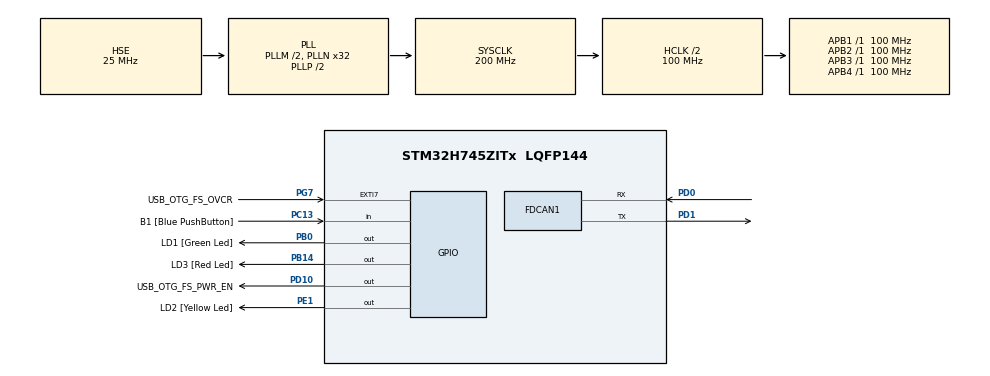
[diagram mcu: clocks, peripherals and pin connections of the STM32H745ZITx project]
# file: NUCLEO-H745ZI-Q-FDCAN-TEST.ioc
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CortexM4.IPs=FATFS_M4\:I,FREERTOS_M4\:I,IWDG2\:I,RCC,WWDG2\:I,DMA,BDMA,MDMA,NVIC2\:I,USART3,DEBUG,PDM2PCM_M4\:I,PWR,RESMGR_UTILITY,SYS_M4\:I,USB_DEVICE_M4\:I,USB_HOST_M4\:I,CORTEX_M4\:I,OPENAMP_M4\:I,VREFBUF
CortexM7.IPs=FATFS_M7\:I,FREERTOS_M7\:I,IWDG1\:I,RCC\:I,WWDG1\:I,DMA\:I,BDMA\:I,MDMA\:I,NVIC1\:I,SYS\:I,USART3\:I,USB_OTG_FS\:I,CORTEX_M7\:I,DEBUG\:I,PDM2PCM_M7\:I,PWR\:I,RESMGR_UTILITY\:I,USB_DEVICE_M7\:I,USB_HOST_M7\:I,OPENAMP_M7\:I,VREFBUF\:I,FDCAN1\:I
FDCAN1.AutoRetransmission=ENABLE
FDCAN1.DataPrescaler=4
FDCAN1.DataSyncJumpWidth=15
FDCAN1.DataTimeSeg1=9
FDCAN1.DataTimeSeg2=9
FDCAN1.Mode=FDCAN_MODE_EXTERNAL_LOOPBACK
FDCAN1.NominalSyncJumpWidth=20
FDCAN1.NominalTimeSeg1=79
FDCAN1.NominalTimeSeg2=20
FDCAN1.RxFifo0ElmtsNbr=1
FDCAN1.StdFiltersNbr=1
FDCAN1.TxFifoQueueElmtsNbr=1
Mcu.Family=STM32H7
Mcu.Name=STM32H745ZITx
Mcu.Package=LQFP144
NVIC1.PriorityGroup=NVIC_PRIORITYGROUP_4
NVIC2.PriorityGroup=NVIC_PRIORITYGROUP_4
PA1.PinAttribute=CortexM4
PA1.Signal=ETH_REF_CLK
PA11.PinAttribute=CortexM7
PA11.Signal=USB_OTG_FS_DM
PA12.PinAttribute=CortexM7
PA12.Signal=USB_OTG_FS_DP
PA2.PinAttribute=CortexM4
PA2.Signal=ETH_MDIO
PA7.PinAttribute=CortexM4
PA7.Signal=ETH_CRS_DV
PA8.PinAttribute=CortexM7
PA8.Signal=USB_OTG_FS_SOF
PA9.PinAttribute=CortexM7
PA9.Signal=USB_OTG_FS_VBUS
PB0.GPIO_Label=LD1 [Green Led]
PB0.GPIO_PuPd=GPIO_NOPULL
PB0.PinAttribute=Free
PB0.Signal=GPIO_Output
PB13.PinAttribute=CortexM4
PB13.Signal=ETH_TXD1
PB14.GPIO_Label=LD3 [Red Led]
PB14.PinAttribute=Free
PB14.Signal=GPIO_Output
PC1.PinAttribute=CortexM4
PC1.Signal=ETH_MDC
PC13.GPIO_Label=B1 [Blue PushButton]
PC13.PinAttribute=Free
PC13.Signal=GPIO_Input
PC14-OSC32_IN\ (OSC32_IN).PinAttribute=CortexM7
PC14-OSC32_IN\ (OSC32_IN).Signal=RCC_OSC32_IN
PC15-OSC32_OUT\ (OSC32_OUT).PinAttribute=CortexM7
PC15-OSC32_OUT\ (OSC32_OUT).Signal=RCC_OSC32_OUT
PC4.PinAttribute=CortexM4
PC4.Signal=ETH_RXD0
PC5.PinAttribute=CortexM4
PC5.Signal=ETH_RXD1
PD0.Mode=FDCAN_Activate
PD0.PinAttribute=CortexM7
PD0.Signal=FDCAN1_RX
PD1.Mode=FDCAN_Activate
PD1.PinAttribute=CortexM7
PD1.Signal=FDCAN1_TX
PD10.GPIO_Label=USB_OTG_FS_PWR_EN
PD10.PinAttribute=Free
PD10.Signal=GPIO_Output
PD8.GPIO_Label=STLINK_RX
PD8.PinAttribute=CortexM7
PD8.Signal=USART3_TX
PD9.GPIO_Label=STLINK_TX
PD9.PinAttribute=CortexM7
PD9.Signal=USART3_RX
PE1.GPIO_Label=LD2 [Yellow Led]
PE1.PinAttribute=Free
PE1.Signal=GPIO_Output
PG11.PinAttribute=CortexM4
PG11.Signal=ETH_TX_EN
PG13.PinAttribute=CortexM4
PG13.Signal=ETH_TXD0
PG7.GPIO_Label=USB_OTG_FS_OVCR
PG7.PinAttribute=Free
PG7.Signal=GPXTI7
PH0-OSC_IN\ (PH0).Mode=HSE-External-Oscillator
PH0-OSC_IN\ (PH0).PinAttribute=CortexM7
PH0-OSC_IN\ (PH0).Signal=RCC_OSC_IN
PH1-OSC_OUT\ (PH1).Mode=HSE-External-Oscillator
PH1-OSC_OUT\ (PH1).PinAttribute=CortexM7
PH1-OSC_OUT\ (PH1).Signal=RCC_OSC_OUT
ProjectManager.HeapSize=M4-0x200,M7-0x200
ProjectManager.StackSize=M4-0x400,M7-0x400
ProjectManager.TargetToolchain=STM32CubeIDE
RCC.ADCFreq_Value=50390625
RCC.APB1Freq_Value=100000000
RCC.APB2Freq_Value=100000000
RCC.APB3Freq_Value=100000000
RCC.APB4Freq_Value=100000000
RCC.CortexFreq_Value=200000000
RCC.DIVM1=2
RCC.DIVM3=22
RCC.DIVN1=32
RCC.DIVN3=169
RCC.DIVQ1=8
RCC.DIVQ3=4
RCC.HCLKFreq_Value=100000000
RCC.HPRE=RCC_HCLK_DIV2
RCC.PLL2FRACN=0
RCC.PLL3FRACN=0
RCC.PLLFRACN=0
RCC.PLLSourceVirtual=RCC_PLLSOURCE_HSE
RCC.SYSCLKFreq_VALUE=200000000
RCC.SYSCLKSource=RCC_SYSCLKSOURCE_PLLCLK
RCC.SupplySource=PWR_DIRECT_SMPS_SUPPLY
RCC.USBCLockSelection=RCC_USBCLKSOURCE_PLL3
RCC.USBFreq_Value=48011363.63636364
VP_SYS_M4_VS_Systick.Mode=SysTick
board=NUCLEO-H745ZI-Q

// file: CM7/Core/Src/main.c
/* USER CODE BEGIN Header */
/**
  ******************************************************************************
  * @file           : main.c
  * @brief          : Main program body
  ******************************************************************************
  * @attention
  *
  * Copyright (c) 2023 STMicroelectronics.
  * All rights reserved.
  *
  * This software is licensed under terms that can be found in the LICENSE file
  * in the root directory of this software component.
  * If no LICENSE file comes with this software, it is provided AS-IS.
  *
  ******************************************************************************
  */
/* USER CODE END Header */
#include "main.h"

/* USER CODE BEGIN PD */

#ifndef HSEM_ID_0
#define HSEM_ID_0 (0U) /* HW semaphore 0*/
#endif
/* USER CODE END PD */

FDCAN_HandleTypeDef hfdcan1;

/* USER CODE BEGIN PV */
FDCAN_TxHeaderTypeDef   TxHeader;
FDCAN_RxHeaderTypeDef   RxHeader;
uint8_t msg[8];
uint8_t rcvd_msg[8];
/* USER CODE END PV */

void SystemClock_Config(void);
static void MX_GPIO_Init(void);
static void MX_FDCAN1_Init(void);
/* USER CODE BEGIN PFP */
void FDCAN1_Tx(void);
void FDCAN1_Rx(void);
void Filter_Config(void);
/* USER CODE END PFP */

int main(void)
{
/* USER CODE BEGIN Boot_Mode_Sequence_0 */
  int32_t timeout;
/* USER CODE END Boot_Mode_Sequence_0 */

/* USER CODE BEGIN Boot_Mode_Sequence_1 */
  /* Wait until CPU2 boots and enters in stop mode or timeout*/
  timeout = 0xFFFF;
  while((__HAL_RCC_GET_FLAG(RCC_FLAG_D2CKRDY) != RESET) && (timeout-- > 0));
  if ( timeout < 0 )
  {
  Error_Handler();
  }
/* USER CODE END Boot_Mode_Sequence_1 */
  /* MCU Configuration--------------------------------------------------------*/

  /* Reset of all peripherals, Initializes the Flash interface and the Systick. */
  HAL_Init();

  /* Configure the system clock */
  SystemClock_Config();
/* USER CODE BEGIN Boot_Mode_Sequence_2 */
/* When system initialization is finished, Cortex-M7 will release Cortex-M4 by means of
HSEM notification */
/*HW semaphore Clock enable*/
__HAL_RCC_HSEM_CLK_ENABLE();
/*Take HSEM */
HAL_HSEM_FastTake(HSEM_ID_0);
/*Release HSEM in order to notify the CPU2(CM4)*/
HAL_HSEM_Release(HSEM_ID_0,0);
/* wait until CPU2 wakes up from stop mode */
timeout = 0xFFFF;
while((__HAL_RCC_GET_FLAG(RCC_FLAG_D2CKRDY) == RESET) && (timeout-- > 0));
if ( timeout < 0 )
{
Error_Handler();
}
/* USER CODE END Boot_Mode_Sequence_2 */

  /* Initialize all configured peripherals */
  MX_GPIO_Init();
  MX_FDCAN1_Init();

  /* Infinite loop */
  while (1)
  {

  }
}

void SystemClock_Config(void)
{
  RCC_OscInitTypeDef RCC_OscInitStruct = {0};
  RCC_ClkInitTypeDef RCC_ClkInitStruct = {0};

  /** Supply configuration update enable
  */
  HAL_PWREx_ConfigSupply(PWR_DIRECT_SMPS_SUPPLY);
  /** Configure the main internal regulator output voltage
  */
  __HAL_PWR_VOLTAGESCALING_CONFIG(PWR_REGULATOR_VOLTAGE_SCALE3);

  while(!__HAL_PWR_GET_FLAG(PWR_FLAG_VOSRDY)) {}
  /** Initializes the RCC Oscillators according to the specified parameters
  * in the RCC_OscInitTypeDef structure.
  */
  RCC_OscInitStruct.OscillatorType = RCC_OSCILLATORTYPE_HSE;
  RCC_OscInitStruct.HSEState = RCC_HSE_ON;
  RCC_OscInitStruct.PLL.PLLState = RCC_PLL_ON;
  RCC_OscInitStruct.PLL.PLLSource = RCC_PLLSOURCE_HSE;
  RCC_OscInitStruct.PLL.PLLM = 2;
  RCC_OscInitStruct.PLL.PLLN = 32;
  RCC_OscInitStruct.PLL.PLLP = 2;
  RCC_OscInitStruct.PLL.PLLQ = 8;
  RCC_OscInitStruct.PLL.PLLR = 2;
  RCC_OscInitStruct.PLL.PLLRGE = RCC_PLL1VCIRANGE_3;
  RCC_OscInitStruct.PLL.PLLVCOSEL = RCC_PLL1VCOWIDE;
  RCC_OscInitStruct.PLL.PLLFRACN = 0;
  if (HAL_RCC_OscConfig(&RCC_OscInitStruct) != HAL_OK)
  {
    Error_Handler();
  }
  /** Initializes the CPU, AHB and APB buses clocks
  */
  RCC_ClkInitStruct.ClockType = RCC_CLOCKTYPE_HCLK|RCC_CLOCKTYPE_SYSCLK
                              |RCC_CLOCKTYPE_PCLK1|RCC_CLOCKTYPE_PCLK2
                              |RCC_CLOCKTYPE_D3PCLK1|RCC_CLOCKTYPE_D1PCLK1;
  RCC_ClkInitStruct.SYSCLKSource = RCC_SYSCLKSOURCE_PLLCLK;
  RCC_ClkInitStruct.SYSCLKDivider = RCC_SYSCLK_DIV1;
  RCC_ClkInitStruct.AHBCLKDivider = RCC_HCLK_DIV2;
  RCC_ClkInitStruct.APB3CLKDivider = RCC_APB3_DIV1;
  RCC_ClkInitStruct.APB1CLKDivider = RCC_APB1_DIV1;
  RCC_ClkInitStruct.APB2CLKDivider = RCC_APB2_DIV1;
  RCC_ClkInitStruct.APB4CLKDivider = RCC_APB4_DIV1;

  if (HAL_RCC_ClockConfig(&RCC_ClkInitStruct, FLASH_LATENCY_2) != HAL_OK)
  {
    Error_Handler();
  }
}

static void MX_FDCAN1_Init(void)
{

  hfdcan1.Instance = FDCAN1;
  hfdcan1.Init.FrameFormat = FDCAN_FRAME_CLASSIC;
  hfdcan1.Init.Mode = FDCAN_MODE_EXTERNAL_LOOPBACK;
  hfdcan1.Init.AutoRetransmission = ENABLE;
  hfdcan1.Init.TransmitPause = DISABLE;
  hfdcan1.Init.ProtocolException = DISABLE;
  hfdcan1.Init.NominalPrescaler = 1;
  hfdcan1.Init.NominalSyncJumpWidth = 20;
  hfdcan1.Init.NominalTimeSeg1 = 79;
  hfdcan1.Init.NominalTimeSeg2 = 20;
  hfdcan1.Init.DataPrescaler = 4;
  hfdcan1.Init.DataSyncJumpWidth = 15;
  hfdcan1.Init.DataTimeSeg1 = 9;
  hfdcan1.Init.DataTimeSeg2 = 9;
  hfdcan1.Init.MessageRAMOffset = 0;
  hfdcan1.Init.StdFiltersNbr = 1;
  hfdcan1.Init.ExtFiltersNbr = 0;
  hfdcan1.Init.RxFifo0ElmtsNbr = 1;
  hfdcan1.Init.RxFifo0ElmtSize = FDCAN_DATA_BYTES_8;
  hfdcan1.Init.RxFifo1ElmtsNbr = 0;
  hfdcan1.Init.RxFifo1ElmtSize = FDCAN_DATA_BYTES_8;
  hfdcan1.Init.RxBuffersNbr = 0;
  hfdcan1.Init.RxBufferSize = FDCAN_DATA_BYTES_8;
  hfdcan1.Init.TxEventsNbr = 0;
  hfdcan1.Init.TxBuffersNbr = 0;
  hfdcan1.Init.TxFifoQueueElmtsNbr = 1;
  hfdcan1.Init.TxFifoQueueMode = FDCAN_TX_FIFO_OPERATION;
  hfdcan1.Init.TxElmtSize = FDCAN_DATA_BYTES_8;
  if (HAL_FDCAN_Init(&hfdcan1) != HAL_OK)
  {
    Error_Handler();
  }
  /* USER CODE BEGIN FDCAN1_Init 2 */
  if(HAL_FDCAN_Start(&hfdcan1)!= HAL_OK)
  {
	  Error_Handler();
  }
  Filter_Config();
  /* USER CODE END FDCAN1_Init 2 */

}

static void MX_GPIO_Init(void)
{
  GPIO_InitTypeDef GPIO_InitStruct = {0};

  /* GPIO Ports Clock Enable */
  __HAL_RCC_GPIOC_CLK_ENABLE();
  __HAL_RCC_GPIOH_CLK_ENABLE();
  __HAL_RCC_GPIOD_CLK_ENABLE();
  __HAL_RCC_GPIOA_CLK_ENABLE();

  /*Configure GPIO pins : PD8 PD9 */
  GPIO_InitStruct.Pin = GPIO_PIN_8|GPIO_PIN_9;
  GPIO_InitStruct.Mode = GPIO_MODE_AF_PP;
  GPIO_InitStruct.Pull = GPIO_NOPULL;
  GPIO_InitStruct.Speed = GPIO_SPEED_FREQ_LOW;
  GPIO_InitStruct.Alternate = GPIO_AF7_USART3;
  HAL_GPIO_Init(GPIOD, &GPIO_InitStruct);

  /*Configure GPIO pins : PA8 PA11 PA12 */
  GPIO_InitStruct.Pin = GPIO_PIN_8|GPIO_PIN_11|GPIO_PIN_12;
  GPIO_InitStruct.Mode = GPIO_MODE_AF_PP;
  GPIO_InitStruct.Pull = GPIO_NOPULL;
  GPIO_InitStruct.Speed = GPIO_SPEED_FREQ_LOW;
  GPIO_InitStruct.Alternate = GPIO_AF10_OTG1_FS;
  HAL_GPIO_Init(GPIOA, &GPIO_InitStruct);

}

/* USER CODE BEGIN 4 */
void Filter_Config(){
	FDCAN_FilterTypeDef sFilterConfig;

	sFilterConfig.IdType = FDCAN_STANDARD_ID;
	sFilterConfig.FilterIndex = 0;
	sFilterConfig.FilterType = FDCAN_FILTER_MASK;
	sFilterConfig.FilterConfig = FDCAN_FILTER_TO_RXFIFO0;
	sFilterConfig.FilterID1 = 0x000;
	sFilterConfig.FilterID2 = 0x000;
	sFilterConfig.RxBufferIndex = 0;

	if (HAL_FDCAN_ConfigFilter(&hfdcan1, &sFilterConfig) != HAL_OK)
	{
	  /* Filter configuration Error */
	Error_Handler();
	}
}
void FDCA1_Tx(){
	TxHeader.Identifier = 0x11;
	TxHeader.IdType = FDCAN_STANDARD_ID;
	TxHeader.TxFrameType = FDCAN_DATA_FRAME;
	TxHeader.DataLength = FDCAN_DLC_BYTES_8;
	TxHeader.ErrorStateIndicator = FDCAN_ESI_ACTIVE;
	TxHeader.BitRateSwitch = FDCAN_BRS_OFF;
	TxHeader.FDFormat = FDCAN_CLASSIC_CAN;
	TxHeader.TxEventFifoControl = FDCAN_NO_TX_EVENTS;
	TxHeader.MessageMarker = 0;

	if( HAL_FDCAN_AddMessageToTxFifoQ(&hfdcan1, TxHeader, msg) != HAL_OK ){
		Error_Handler();
	}

	HAL_GPIO_WritePin(GPIOD, 0, GPIO_PIN_SET); //SET The GREEN LED

}

void FDCAN1_Rx(){
	// Wait until There is a message in the FDCAN_RX_FIFO0
	while(!HAL_FDCAN_GetRxFifoFillLevel(&hfdcan1, FDCAN_RX_FIFO0));
	HAL_FDCAN_GetRxMessage(&hfdcan1, FDCAN_RX_FIFO0, RxHeader, uint8_t *pRxData);
}
/* USER CODE END 4 */

void Error_Handler(void)
{
  __disable_irq();
  while (1)
  {
  }
}
